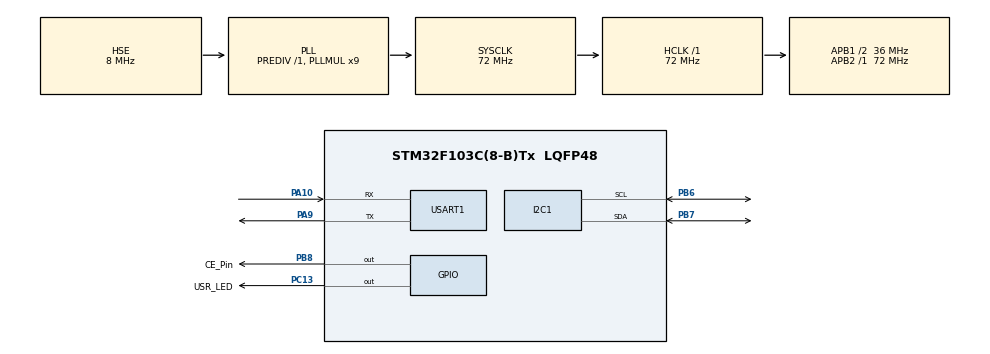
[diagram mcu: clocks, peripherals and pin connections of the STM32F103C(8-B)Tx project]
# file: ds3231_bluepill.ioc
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Mcu.Family=STM32F1
Mcu.Name=STM32F103C(8-B)Tx
Mcu.Package=LQFP48
NVIC.PriorityGroup=NVIC_PRIORITYGROUP_4
PA10.Mode=Asynchronous
PA10.Signal=USART1_RX
PA13.Mode=Serial_Wire
PA13.Signal=SYS_JTMS-SWDIO
PA14.Mode=Serial_Wire
PA14.Signal=SYS_JTCK-SWCLK
PA9.Mode=Asynchronous
PA9.Signal=USART1_TX
PB6.Mode=I2C
PB6.Signal=I2C1_SCL
PB7.Mode=I2C
PB7.Signal=I2C1_SDA
PB8.GPIO_Label=CE_Pin
PB8.Signal=GPIO_Output
PC13-TAMPER-RTC.GPIO_Label=USR_LED
PC13-TAMPER-RTC.Signal=GPIO_Output
PC14-OSC32_IN.Mode=LSE-External-Clock-Source
PC14-OSC32_IN.Signal=RCC_OSC32_IN
PC15-OSC32_OUT.Mode=LSE-External-Clock-Source
PC15-OSC32_OUT.Signal=RCC_OSC32_OUT
PD0-OSC_IN.Mode=HSE-External-Oscillator
PD0-OSC_IN.Signal=RCC_OSC_IN
PD1-OSC_OUT.Mode=HSE-External-Oscillator
PD1-OSC_OUT.Signal=RCC_OSC_OUT
ProjectManager.HeapSize=0x200
ProjectManager.StackSize=0x400
ProjectManager.TargetToolchain=STM32CubeIDE
RCC.AHBFreq_Value=72000000
RCC.APB1CLKDivider=RCC_HCLK_DIV2
RCC.APB1Freq_Value=36000000
RCC.APB1TimFreq_Value=72000000
RCC.APB2Freq_Value=72000000
RCC.APB2TimFreq_Value=72000000
RCC.HCLKFreq_Value=72000000
RCC.PLLMUL=RCC_PLL_MUL9
RCC.PLLSourceVirtual=RCC_PLLSOURCE_HSE
RCC.SYSCLKFreq_VALUE=72000000
RCC.SYSCLKSource=RCC_SYSCLKSOURCE_PLLCLK
RCC.USBFreq_Value=72000000
USART1.VirtualMode=VM_ASYNC
board=custom

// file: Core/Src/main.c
/* USER CODE BEGIN Header */
/**
  ******************************************************************************
  * @file           : main.c
  * @brief          : Main program body
  ******************************************************************************
  * @attention
  *
  * Copyright (c) 2024 STMicroelectronics.
  * All rights reserved.
  *
  * This software is licensed under terms that can be found in the LICENSE file
  * in the root directory of this software component.
  * If no LICENSE file comes with this software, it is provided AS-IS.
  *
  ******************************************************************************
  */
/* USER CODE END Header */
#include "main.h"

/* USER CODE BEGIN Includes */
#include <stdio.h>
#include <stdint.h>
#include "ds3231.h"
/* USER CODE END Includes */

I2C_HandleTypeDef hi2c1;

UART_HandleTypeDef huart1;

void SystemClock_Config(void);
static void MX_GPIO_Init(void);
static void MX_I2C1_Init(void);
static void MX_USART1_UART_Init(void);

int main(void)
{

  /* MCU Configuration--------------------------------------------------------*/

  /* Reset of all peripherals, Initializes the Flash interface and the Systick. */
  HAL_Init();

  /* Configure the system clock */
  SystemClock_Config();

  /* Initialize all configured peripherals */
  MX_GPIO_Init();
  MX_I2C1_Init();
  MX_USART1_UART_Init();
  HAL_GPIO_WritePin(CE_Pin_GPIO_Port, CE_Pin_Pin, GPIO_PIN_SET);
  /* USER CODE BEGIN 2 */
#ifdef __GNUC__
/* With GCC/RAISONANCE, small printf (option LD Linker->Libraries->Small printf
   set to 'Yes') calls __io_putchar() */
#define PUTCHAR_PROTOTYPE int __io_putchar(int ch)
#else
#define PUTCHAR_PROTOTYPE int fputc(int ch, FILE *f)
#endif /* __GNUC__ */

  HAL_StatusTypeDef ret;
  uint8_t data_from_sensor[19];
  for (uint8_t i = 1; i < 128; i++)
  {
	  ret = HAL_I2C_IsDeviceReady(&hi2c1, (uint16_t)(i<<1), 3, 5);
	  if (HAL_OK == ret)
	  {
		  printf("I2C device found at Address: %d\r\n", i);
		  //break;
	  }
  }
  /* USER CODE END 2 */

  /* Infinite loop */
  while (1)
  {

    /* USER CODE BEGIN 3 */
	  HAL_StatusTypeDef read_ret = HAL_I2C_Mem_Read(&hi2c1, (uint16_t)(DS3231_DEV_ADD << 1), (uint16_t)DS3231_SECONDS, I2C_MEMADD_SIZE_8BIT, &data_from_sensor[0], 19, HAL_MAX_DELAY);
	  HAL_GPIO_WritePin(USR_LED_GPIO_Port, USR_LED_Pin, GPIO_PIN_RESET);
	  HAL_Delay(1000);
	  if (HAL_OK == read_ret)
	  {
		  for (uint8_t i = 0; i < 19; i++)
		  {
			  if (0 == i)
			  {
				  printf("data_from_sensor[%d] = %d\r\n", i, data_from_sensor[i] >> 0x4);
			  }
			  else
			  {
				  printf("data_from_sensor[%d] = %d\r\n", i, data_from_sensor[i]);
			  }
		  }
	  }
	  HAL_GPIO_WritePin(USR_LED_GPIO_Port, USR_LED_Pin, GPIO_PIN_SET);
	  HAL_Delay(1000);
	  //I2C_HandleTypeDef *hi2c, uint16_t DevAddress, uint16_t MemAddress, uint16_t MemAddSize, uint8_t *pData, uint16_t Size, uint32_t Timeout
	  //HAL_I2C_Master_Receive(I2C_HandleTypeDef *hi2c, uint16_t DevAddress, uint8_t *pData, uint16_t Size, uint32_t Timeout);
  }
  /* USER CODE END 3 */
}
/**
  * @brief  Retargets the C library printf function to the USART.
  * @param  None
  * @retval None
  */
PUTCHAR_PROTOTYPE
{
  /* Place your implementation of fputc here */
  /* e.g. write a character to the USART1 and Loop until the end of transmission */
  HAL_UART_Transmit(&huart1, (uint8_t *)&ch, 1, 0xFFFF);

  return ch;
}
void SystemClock_Config(void)
{
  RCC_OscInitTypeDef RCC_OscInitStruct = {0};
  RCC_ClkInitTypeDef RCC_ClkInitStruct = {0};

  /** Initializes the RCC Oscillators according to the specified parameters
  * in the RCC_OscInitTypeDef structure.
  */
  RCC_OscInitStruct.OscillatorType = RCC_OSCILLATORTYPE_HSE;
  RCC_OscInitStruct.HSEState = RCC_HSE_ON;
  RCC_OscInitStruct.HSEPredivValue = RCC_HSE_PREDIV_DIV1;
  RCC_OscInitStruct.HSIState = RCC_HSI_ON;
  RCC_OscInitStruct.PLL.PLLState = RCC_PLL_ON;
  RCC_OscInitStruct.PLL.PLLSource = RCC_PLLSOURCE_HSE;
  RCC_OscInitStruct.PLL.PLLMUL = RCC_PLL_MUL9;
  if (HAL_RCC_OscConfig(&RCC_OscInitStruct) != HAL_OK)
  {
    Error_Handler();
  }

  /** Initializes the CPU, AHB and APB buses clocks
  */
  RCC_ClkInitStruct.ClockType = RCC_CLOCKTYPE_HCLK|RCC_CLOCKTYPE_SYSCLK
                              |RCC_CLOCKTYPE_PCLK1|RCC_CLOCKTYPE_PCLK2;
  RCC_ClkInitStruct.SYSCLKSource = RCC_SYSCLKSOURCE_PLLCLK;
  RCC_ClkInitStruct.AHBCLKDivider = RCC_SYSCLK_DIV1;
  RCC_ClkInitStruct.APB1CLKDivider = RCC_HCLK_DIV2;
  RCC_ClkInitStruct.APB2CLKDivider = RCC_HCLK_DIV1;

  if (HAL_RCC_ClockConfig(&RCC_ClkInitStruct, FLASH_LATENCY_2) != HAL_OK)
  {
    Error_Handler();
  }
}

static void MX_I2C1_Init(void)
{

  hi2c1.Instance = I2C1;
  hi2c1.Init.ClockSpeed = 100000;
  hi2c1.Init.DutyCycle = I2C_DUTYCYCLE_2;
  hi2c1.Init.OwnAddress1 = 0;
  hi2c1.Init.AddressingMode = I2C_ADDRESSINGMODE_7BIT;
  hi2c1.Init.DualAddressMode = I2C_DUALADDRESS_DISABLE;
  hi2c1.Init.OwnAddress2 = 0;
  hi2c1.Init.GeneralCallMode = I2C_GENERALCALL_DISABLE;
  hi2c1.Init.NoStretchMode = I2C_NOSTRETCH_DISABLE;
  if (HAL_I2C_Init(&hi2c1) != HAL_OK)
  {
    Error_Handler();
  }

}

static void MX_USART1_UART_Init(void)
{

  huart1.Instance = USART1;
  huart1.Init.BaudRate = 115200;
  huart1.Init.WordLength = UART_WORDLENGTH_8B;
  huart1.Init.StopBits = UART_STOPBITS_1;
  huart1.Init.Parity = UART_PARITY_NONE;
  huart1.Init.Mode = UART_MODE_TX_RX;
  huart1.Init.HwFlowCtl = UART_HWCONTROL_NONE;
  huart1.Init.OverSampling = UART_OVERSAMPLING_16;
  if (HAL_UART_Init(&huart1) != HAL_OK)
  {
    Error_Handler();
  }

}

static void MX_GPIO_Init(void)
{
  GPIO_InitTypeDef GPIO_InitStruct = {0};

  /* GPIO Ports Clock Enable */
  __HAL_RCC_GPIOC_CLK_ENABLE();
  __HAL_RCC_GPIOD_CLK_ENABLE();
  __HAL_RCC_GPIOA_CLK_ENABLE();
  __HAL_RCC_GPIOB_CLK_ENABLE();

  /*Configure GPIO pin Output Level */
  HAL_GPIO_WritePin(USR_LED_GPIO_Port, USR_LED_Pin, GPIO_PIN_RESET);

  /*Configure GPIO pin Output Level */
  HAL_GPIO_WritePin(CE_Pin_GPIO_Port, CE_Pin_Pin, GPIO_PIN_RESET);

  /*Configure GPIO pin : USR_LED_Pin */
  GPIO_InitStruct.Pin = USR_LED_Pin;
  GPIO_InitStruct.Mode = GPIO_MODE_OUTPUT_PP;
  GPIO_InitStruct.Pull = GPIO_NOPULL;
  GPIO_InitStruct.Speed = GPIO_SPEED_FREQ_LOW;
  HAL_GPIO_Init(USR_LED_GPIO_Port, &GPIO_InitStruct);

  /*Configure GPIO pin : CE_Pin_Pin */
  GPIO_InitStruct.Pin = CE_Pin_Pin;
  GPIO_InitStruct.Mode = GPIO_MODE_OUTPUT_PP;
  GPIO_InitStruct.Pull = GPIO_NOPULL;
  GPIO_InitStruct.Speed = GPIO_SPEED_FREQ_LOW;
  HAL_GPIO_Init(CE_Pin_GPIO_Port, &GPIO_InitStruct);

}

void Error_Handler(void)
{
  __disable_irq();
  while (1)
  {
  }
}
